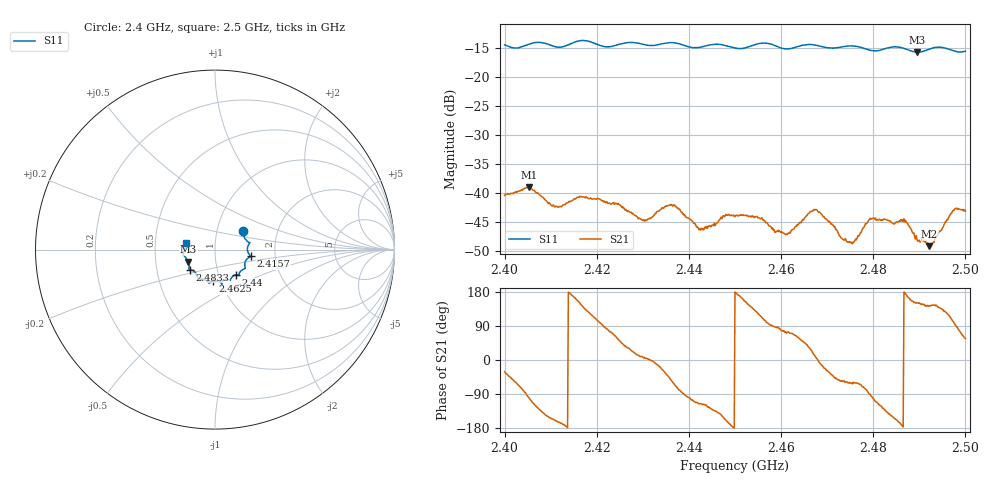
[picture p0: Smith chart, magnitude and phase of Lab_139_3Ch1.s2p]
# Hz S RI R 50
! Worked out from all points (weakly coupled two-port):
!   601 points, 2.4 GHz to 2.5 GHz, reference 50 ohm
!   highest |S21| = -39.02 dB at 2.4053 GHz (marker M1); lowest = -49.2 dB at 2.4922 GHz (marker M2)
!   lowest |S11| = -15.7 dB at 2.4895 GHz (marker M3), VSWR 1.39, Z = 36.8 - j5.12 ohm
!   |S11| at or under -10 dB: start of sweep to end of sweep
!   S12 and S22 are empty: the file has one direction only
!   S11 on the Smith chart (normalised r, x): 2.4 GHz: 1.34, +0.29; 2.4157 GHz: 1.49, -0.12; 2.44 GHz: 1.21, -0.35; 2.4625 GHz: 0.92, -0.34; 2.4833 GHz: 0.74, -0.17; 2.5 GHz: 0.72, +0.05
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2.4e9  0.1567 0.1057  0.00816 -0.00484  0 0  0 0
2.405333e9  0.1871 0.0409  -0.00207 -0.011  0 0  0 0
2.411333e9  0.1807 0.00929  -0.00722 -0.00243  0 0  0 0
2.415667e9  0.1989 -0.0371  -0.00849 0.0033  0 0  0 0
2.416667e9  0.2019 -0.0401  -0.00761 0.00534  0 0  0 0
2.4245e9  0.1661 -0.0907  0.00432 0.00668  0 0  0 0
2.430333e9  0.1522 -0.1134  0.00566 0.000697  0 0  0 0
2.433333e9  0.1343 -0.1341  0.00673 -0.00174  0 0  0 0
2.436667e9  0.1337 -0.1446  0.00366 -0.00695  0 0  0 0
2.44e9  0.1156 -0.1401  -0.000999 -0.00591  0 0  0 0
2.442667e9  0.0936 -0.1548  -0.00213 -0.00446  0 0  0 0
2.45e9  0.0638 -0.1655  -0.00625 5.69e-05  0 0  0 0
2.4625e9  -0.011 -0.1769  0.0017 0.00452  0 0  0 0
2.466667e9  -0.0339 -0.1869  0.00637 0.0028  0 0  0 0
2.475e9  -0.0905 -0.1613  0.00182 -0.00326  0 0  0 0
2.4795e9  -0.1078 -0.1303  -0.000538 -0.00594  0 0  0 0
2.483333e9  -0.1395 -0.1113  -0.00453 -0.00352  0 0  0 0
2.486833e9  -0.1447 -0.0988  -0.0056 0.000157  0 0  0 0
2.4895e9  -0.1486 -0.0678  -0.00343 0.00196  0 0  0 0
2.492167e9  -0.1697 -0.0367  -0.00279 0.00206  0 0  0 0
2.4975e9  -0.1676 -0.000762  -0.00104 0.00697  0 0  0 0
2.5e9  -0.1627 0.037  0.00383 0.00579  0 0  0 0
